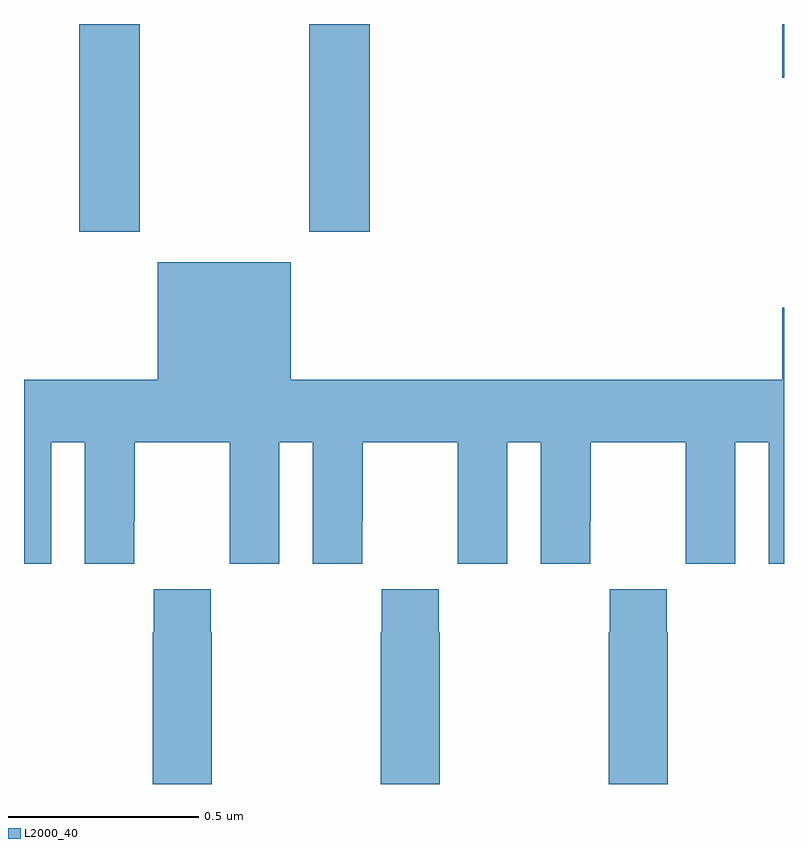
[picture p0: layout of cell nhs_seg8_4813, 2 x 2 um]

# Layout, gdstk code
import gdstk
lib = gdstk.Library(unit=1e-6, precision=1e-09)
def R(c, l, rs):  # rectangles x0, y0, x1, y1
    for r in rs: c.add(gdstk.rectangle(r[:2], r[2:], *l))
def P(c, l, *ps):  # polygons
    for p in ps: c.add(gdstk.Polygon(p, *l))
L2000_40 = (2000, 40)

nhs_seg8_4813 = lib.new_cell('nhs_seg8_4813')
R(nhs_seg8_4813, L2000_40, [(175.145,1150.353,175.305,1150.9), (175.75,1150.353,175.91,1150.9), (176.996,1150.758,177,1150.9)])
P(nhs_seg8_4813, L2000_40, [(175.072,1149.8),(175.16,1149.8),(175.16,1149.48),(175.29,1149.48),(175.29,1149.592),(175.291,1149.592),(175.291,1149.8),(175.541,1149.8),(175.541,1149.592),(175.542,1149.592),(175.542,1149.48),(175.672,1149.48),(175.672,1149.8),(175.76,1149.8),(175.76,1149.48),(175.89,1149.48),(175.89,1149.592),(175.891,1149.592),(175.891,1149.8),(176.141,1149.8),(176.141,1149.592),(176.142,1149.592),(176.142,1149.48),(176.272,1149.48),(176.272,1149.8),(176.36,1149.8),(176.36,1149.48),(176.49,1149.48),(176.49,1149.592),(176.491,1149.592),(176.491,1149.8),(176.741,1149.8),(176.741,1149.592),(176.742,1149.592),(176.742,1149.48),(176.872,1149.48),(176.872,1149.8),(176.96,1149.8),(176.96,1149.48),(177,1149.48),(177,1150.153),(176.996,1150.153),(176.996,1149.964),(175.702,1149.964),(175.702,1150.273),(175.352,1150.273),(175.352,1149.964),(175,1149.964),(175,1149.48),(175.072,1149.48)],
  [(176.094,1149.299),(176.091,1149.299),(176.091,1149.412),(175.941,1149.412),(175.941,1149.299),(175.939,1149.299),(175.939,1148.9),(176.094,1148.9)],
  [(175.494,1149.299),(175.491,1149.299),(175.491,1149.412),(175.341,1149.412),(175.341,1149.299),(175.339,1149.299),(175.339,1148.9),(175.494,1148.9)],
  [(176.694,1149.299),(176.691,1149.299),(176.691,1149.412),(176.541,1149.412),(176.541,1149.299),(176.539,1149.299),(176.539,1148.9),(176.694,1148.9)])

lib.write_gds('nhs_seg8_4813.gds')
